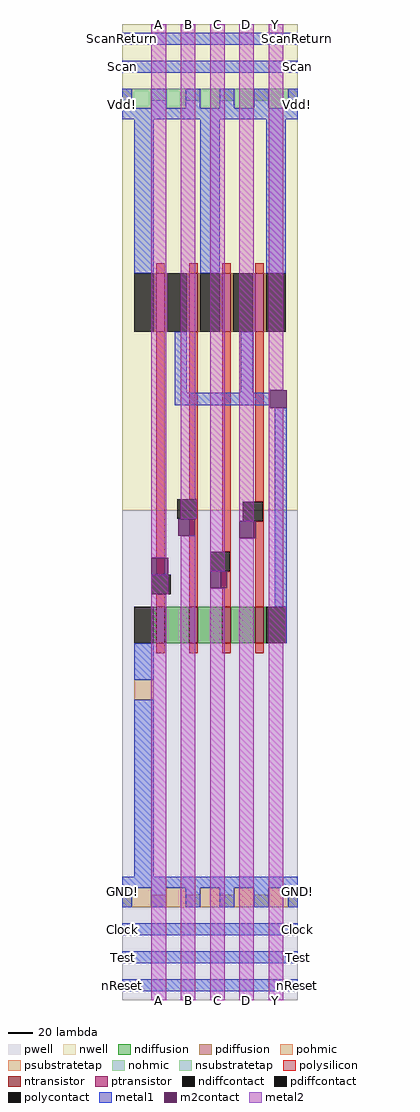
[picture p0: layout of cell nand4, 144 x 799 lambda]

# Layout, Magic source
magic
tech c035u
<< nwell >>
rect 0 401 144 799
<< pwell >>
rect 0 0 144 401
<< polysilicon >>
rect 28 595 35 603
rect 55 595 62 603
rect 82 595 89 603
rect 109 595 116 603
rect 28 348 35 547
rect 55 410 62 547
rect 61 394 62 410
rect 28 322 35 332
rect 55 322 62 394
rect 82 367 89 547
rect 109 408 116 547
rect 115 392 116 408
rect 108 378 116 392
rect 88 351 89 367
rect 81 337 89 351
rect 82 322 89 337
rect 109 322 116 378
rect 28 284 35 292
rect 55 284 62 292
rect 82 284 89 292
rect 109 284 116 292
<< ndiffusion >>
rect 26 292 28 322
rect 35 292 55 322
rect 62 292 82 322
rect 89 292 109 322
rect 116 292 118 322
<< pdiffusion >>
rect 26 547 28 595
rect 35 547 37 595
rect 53 547 55 595
rect 62 547 64 595
rect 80 547 82 595
rect 89 547 91 595
rect 107 547 109 595
rect 116 547 118 595
<< pohmic >>
rect 0 76 8 86
rect 24 76 36 86
rect 52 76 64 86
rect 80 76 92 86
rect 108 76 120 86
rect 136 76 144 86
<< nohmic >>
rect 0 736 8 746
rect 24 736 36 746
rect 52 736 64 746
rect 80 736 92 746
rect 108 736 120 746
rect 136 736 144 746
<< ntransistor >>
rect 28 292 35 322
rect 55 292 62 322
rect 82 292 89 322
rect 109 292 116 322
<< ptransistor >>
rect 28 547 35 595
rect 55 547 62 595
rect 82 547 89 595
rect 109 547 116 595
<< polycontact >>
rect 45 394 61 410
rect 24 332 40 348
rect 99 392 115 408
rect 72 351 88 367
<< ndiffcontact >>
rect 10 292 26 322
rect 118 292 134 322
<< pdiffcontact >>
rect 10 547 26 595
rect 37 547 53 595
rect 64 547 80 595
rect 91 547 107 595
rect 118 547 134 595
<< psubstratetap >>
rect 10 246 26 262
rect 8 76 24 92
rect 36 76 52 92
rect 64 76 80 92
rect 92 76 108 92
rect 120 76 136 92
<< nsubstratetap >>
rect 8 730 24 746
rect 36 730 52 746
rect 64 730 80 746
rect 92 730 108 746
rect 120 730 136 746
<< metal1 >>
rect 0 782 144 792
rect 0 759 144 769
rect 0 730 8 746
rect 24 730 36 746
rect 52 730 64 746
rect 80 730 92 746
rect 108 730 120 746
rect 136 730 144 746
rect 0 721 144 730
rect 10 595 26 721
rect 64 595 80 721
rect 118 595 134 721
rect 43 497 53 547
rect 97 497 107 547
rect 43 487 121 497
rect 125 322 135 485
rect 134 292 135 322
rect 10 262 26 292
rect 10 101 26 246
rect 0 92 144 101
rect 0 76 8 92
rect 24 76 36 92
rect 52 76 64 92
rect 80 76 92 92
rect 108 76 120 92
rect 136 76 144 92
rect 0 53 144 63
rect 0 30 144 40
rect 0 7 144 17
<< m2contact >>
rect 121 485 135 499
rect 46 380 60 394
rect 96 378 110 392
rect 24 348 38 362
rect 72 337 86 351
<< metal2 >>
rect 24 595 36 799
rect 24 547 37 595
rect 24 362 36 547
rect 48 410 60 799
rect 48 394 61 410
rect 24 332 38 348
rect 24 0 36 332
rect 48 0 60 380
rect 72 351 84 799
rect 96 595 108 799
rect 96 547 109 595
rect 96 392 108 547
rect 120 499 132 799
rect 120 485 121 499
rect 72 0 84 337
rect 96 0 108 378
rect 120 322 132 485
rect 120 292 134 322
rect 120 0 132 292
<< labels >>
rlabel metal1 0 76 0 101 3 GND!
rlabel metal1 0 7 0 17 2 nReset
rlabel metal1 144 7 144 17 8 nReset
rlabel metal1 0 30 0 40 3 Test
rlabel metal1 144 30 144 40 7 Test
rlabel metal1 0 53 0 63 3 Clock
rlabel metal1 144 53 144 63 7 Clock
rlabel metal2 48 0 60 0 1 B
rlabel metal2 24 0 36 0 1 A
rlabel metal2 72 0 84 0 1 C
rlabel metal2 96 0 108 0 1 D
rlabel metal2 120 0 132 0 1 Y
rlabel metal1 144 721 144 746 7 Vdd!
rlabel metal1 0 721 0 746 3 Vdd!
rlabel metal1 144 759 144 769 7 Scan
rlabel metal1 0 759 0 769 3 Scan
rlabel metal1 0 782 0 792 4 ScanReturn
rlabel metal1 144 782 144 792 6 ScanReturn
rlabel metal2 24 799 36 799 5 A
rlabel metal2 48 799 60 799 5 B
rlabel metal2 72 799 84 799 5 C
rlabel metal2 96 799 108 799 5 D
rlabel metal2 120 799 132 799 5 Y
rlabel metal1 144 76 144 101 7 GND!
<< end >>
